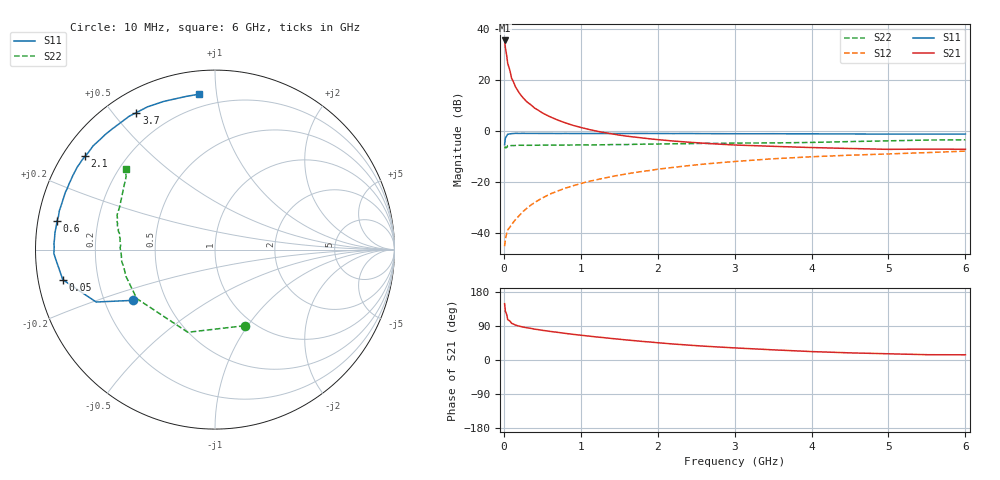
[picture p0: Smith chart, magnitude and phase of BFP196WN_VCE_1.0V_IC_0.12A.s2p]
! Infineon Technologies  Discrete & RF Semiconductors
! BFP196WN
! VCE =  1.0 V,  IC = 0.12 A
! Common Emitter S-Parameters:  Jan 2017
# GHz  S  MA  R  50
!  f  S11  S21  S12  S22
! GHz  MAG  ANG  MAG  ANG  MAG  ANG  MAG  ANG
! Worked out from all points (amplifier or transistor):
!   77 points, 10 MHz to 6 GHz, reference 50 ohm
!   highest |S21| = 35.6 dB at 10 MHz (marker M1)
!   |S21| within 3 dB of that: start of sweep to 20.93 MHz
!   unconditionally stable (mu >= 1): 178 MHz to end of sweep
!   at 130 MHz: K = 0.91, MSG = 27.3 dB, |S12| = -35.7 dB
!   at 2.2 GHz: K = 1.10, MAG = 3.3 dB, |S12| = -14.3 dB
!   at 6 GHz: K = 1.04, MAG = -0.8 dB, |S12| = -7.9 dB
!   S11 on the Smith chart (normalised r, x): 10 MHz: 0.32, -0.26; 50 MHz: 0.07, -0.10; 600 MHz: 0.06, +0.09; 2.1 GHz: 0.06, +0.32; 3.7 GHz: 0.09, +0.58; 6 GHz: 0.13, +0.89
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0.01  0.5367 -148.2  60.51 148.6  0.0054 55.9  0.455 -68.8
0.02  0.7236 -156.2  43.64 128.6  0.0074 46.8  0.4849 -108.2
0.05  0.8644 -168.8  21.4 106.6  0.0112 40.7  0.5144 -148.0
0.1  0.8867 -176.0  11.05 96.7  0.0142 52.0  0.5179 -163.3
0.15  0.898 -178.6  7.453 92.2  0.0179 57.6  0.5179 -169.7
0.2  0.8959 179.2  5.604 89.3  0.0216 63.2  0.5238 -172.5
0.25  0.8979 177.8  4.489 86.9  0.026 65.0  0.5233 -174.4
0.3  0.8962 176.2  3.75 85.0  0.0302 68.1  0.5227 -176.2
0.4  0.8965 173.8  2.827 81.4  0.039 70.3  0.5237 -178.1
0.5  0.894 171.7  2.269 78.4  0.0479 71.6  0.5269 -179.8
0.6  0.8945 169.8  1.905 75.5  0.0574 72.1  0.5287 178.8
0.7  0.8916 167.9  1.641 73.0  0.0657 72.4  0.5264 177.6
0.8  0.8939 166.0  1.443 70.2  0.0749 71.9  0.5275 176.7
0.9  0.8918 164.0  1.29 67.7  0.0836 71.2  0.53 175.8
1.1  0.8916 160.7  1.077 63.2  0.1015 70.1  0.5318 173.9
1.5  0.8917 154.1  0.83 54.8  0.135 66.8  0.5396 170.6
2.1  0.8909 144.3  0.655 43.9  0.1841 61.2  0.5569 166.7
3.1  0.8819 128.8  0.523 30.9  0.2569 50.8  0.5791 159.7
3.7  0.8801 119.8  0.488 25.0  0.2942 44.6  0.5867 154.0
4.1  0.8778 114.1  0.468 21.5  0.3153 40.6  0.5996 149.7
5.1  0.8682 103.5  0.436 15.9  0.3576 32.4  0.6443 140.3
6  0.8703 95.9  0.436 13.7  0.4015 26.1  0.6703 137.8
